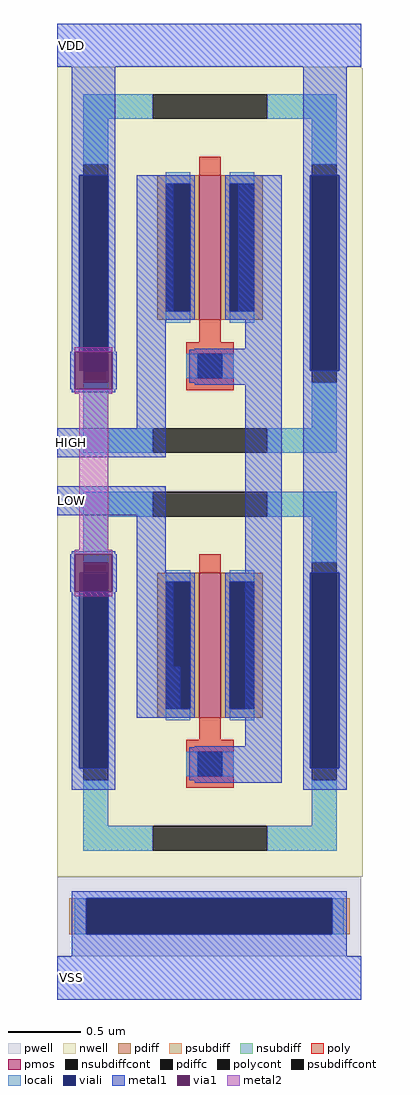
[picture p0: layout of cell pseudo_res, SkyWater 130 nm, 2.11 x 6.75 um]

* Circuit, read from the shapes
.subckt pseudo_res HIGH VDD VSS LOW
XM1 sky130_fd_pr__pfet_01v8_KTLF94_0/G sky130_fd_pr__pfet_01v8_KTLF94_0/G LOW VDD sky130_fd_pr__pfet_01v8 w=1 l=0.15
XM2 sky130_fd_pr__pfet_01v8_KTLF94_0/G sky130_fd_pr__pfet_01v8_KTLF94_0/G HIGH VDD sky130_fd_pr__pfet_01v8 w=1 l=0.15
.ends

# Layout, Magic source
magic
tech sky130A
magscale 1 2
<< nwell >>
rect -50 -600 370 520
<< pwell >>
rect -50 -710 370 -600
<< psubdiff >>
rect -34 -680 -10 -630
rect 330 -680 354 -630
<< psubdiffcont >>
rect -10 -680 330 -630
<< locali >>
rect -26 -680 -10 -630
rect 330 -680 346 -630
<< viali >>
rect -20 100 20 370
rect 300 100 340 370
rect -20 -450 20 -180
rect 300 -450 340 -180
rect -10 -680 330 -630
<< metal1 >>
rect -50 520 370 580
rect -30 370 30 520
rect 290 370 350 520
rect -30 126 -20 370
rect 20 126 30 370
rect 60 170 110 370
rect 200 170 260 370
rect -32 74 -26 126
rect 26 74 32 126
rect -30 70 30 74
rect 60 20 100 170
rect 210 130 260 170
rect 140 80 260 130
rect -50 -20 100 20
rect -50 -100 100 -60
rect -30 -154 30 -150
rect -32 -206 -26 -154
rect 26 -206 32 -154
rect 60 -180 100 -100
rect -30 -450 -20 -206
rect 20 -450 30 -206
rect 60 -310 110 -180
rect 210 -201 260 80
rect 209 -207 260 -201
rect 60 -380 120 -310
rect 210 -420 260 -207
rect -30 -480 30 -450
rect 140 -470 260 -420
rect 290 100 300 370
rect 340 100 350 370
rect 290 -180 350 100
rect 290 -450 300 -180
rect 340 -450 350 -180
rect 290 -480 350 -450
rect -30 -630 350 -620
rect -30 -680 -10 -630
rect 330 -680 350 -630
rect -30 -710 350 -680
rect -50 -770 370 -710
<< via1 >>
rect -26 100 -20 126
rect -20 100 20 126
rect 20 100 26 126
rect -26 74 26 100
rect -26 -180 26 -154
rect -26 -206 -20 -180
rect -20 -206 20 -180
rect 20 -206 26 -180
<< metal2 >>
rect -26 126 26 132
rect -26 68 26 74
rect -20 -148 20 68
rect -26 -154 26 -148
rect -26 -212 26 -206
use sky130_fd_pr__pfet_01v8_KTLF94  sky130_fd_pr__pfet_01v8_KTLF94_0
transform 1 0 161 0 1 234
box -211 -284 211 284
use sky130_fd_pr__pfet_01v8_KTLF94  sky130_fd_pr__pfet_01v8_KTLF94_1
transform 1 0 161 0 1 -316
box -211 -284 211 284
<< labels >>
flabel metal1 -50 -20 -10 20 0 FreeSans 240 0 0 0 HIGH
port 1 nsew
flabel metal1 -50 530 -10 570 0 FreeSans 240 0 0 0 VDD
port 2 nsew
flabel metal1 -50 -760 -10 -720 0 FreeSans 240 0 0 0 VSS
port 3 nsew
flabel metal1 -50 -100 -10 -60 0 FreeSans 240 0 0 0 LOW
port 4 nsew
<< end >>

# cell sky130_fd_pr__pfet_01v8_KTLF94: kit device sky130_fd_pr__pfet_01v8, w 1 l 0.15 m 1 nf 1 diffcov 100 polycov 100 guard 1 glc 1 grc 1 gtc 1 gbc 1 tbcov 100 rlcov 100 topc 0 botc 1 poverlap 0 doverlap 1 lmin 0.15 wmin 0.42 class mosfet compatible {sky130_fd_pr__pfet_01v8 sky130_fd_pr__pfet_01v8_lvt sky130_fd_pr__pfet_01v8_hvt sky130_fd_pr__pfet_g5v0d10v5} full_metal 1 conn_gates 0 viasrc 100 viadrn 100 viagate 100 viagb 0 viagr 0 viagl 0 viagt 0 doports 1
